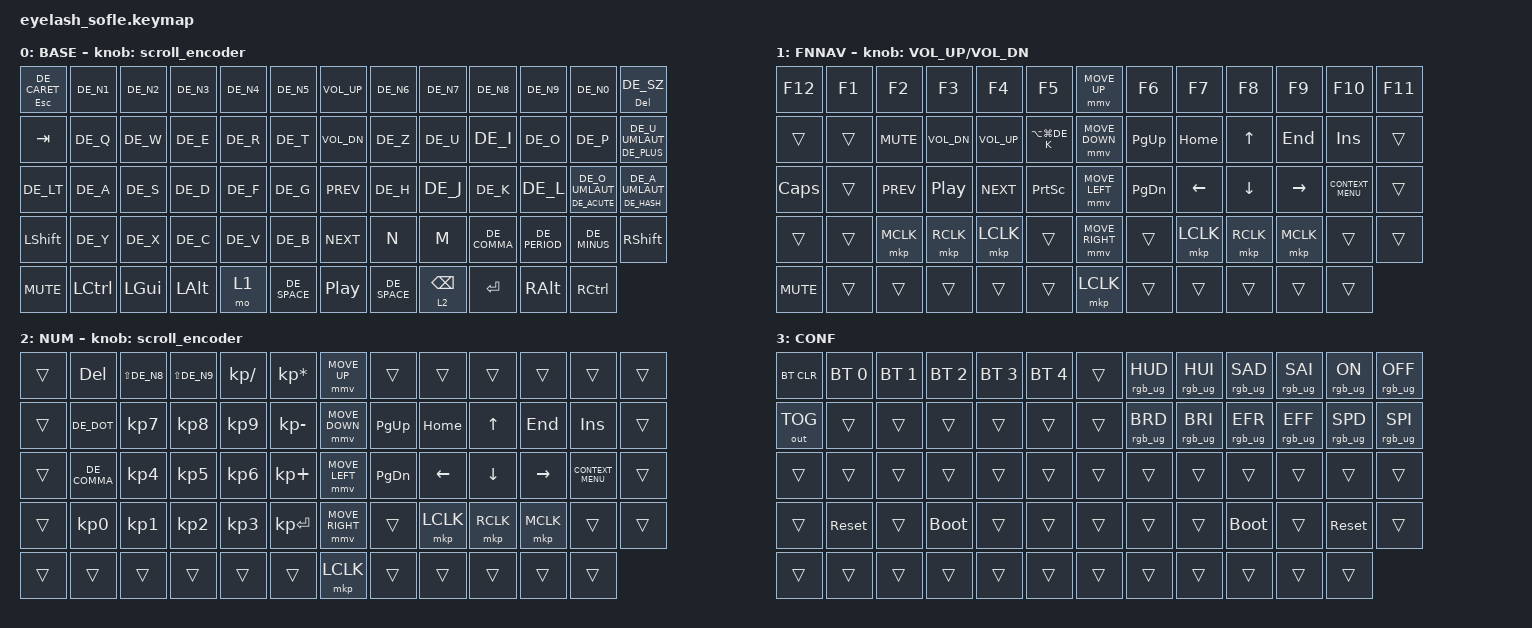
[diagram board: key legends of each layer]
#define ZMK_POINTING_DEFAULT_MOVE_VAL 1200  // 600
#define ZMK_POINTING_DEFAULT_SCRL_VAL 35    // 10

#include "keys_de.h"
#include <input/processors.dtsi>
#include <zephyr/dt-bindings/input/input-event-codes.h>
#include <behaviors.dtsi>
#include <dt-bindings/zmk/bt.h>
#include <dt-bindings/zmk/keys.h>
#include <dt-bindings/zmk/outputs.h>
#include <dt-bindings/zmk/pointing.h>
#include <dt-bindings/zmk/rgb.h>

/ {
    zip_scroll_scaler: zip_scroll_scaler {
        compatible = "zmk,input-processor-scaler";
        #input-processor-cells = <2>;
        type = <INPUT_EV_REL>;
        codes = <INPUT_REL_WHEEL INPUT_REL_HWHEEL>;
        track-remainders;
    };
};

&mmv_input_listener { input-processors = <&zip_xy_scaler 2 1>; };

&msc_input_listener { input-processors = <&zip_scroll_scaler 2 1>; };

&msc {
    acceleration-exponent = <0>;      // 0
    time-to-max-speed-ms = <0>;       // 300
    delay-ms = <0>;                   // 0
};

&mmv {
    time-to-max-speed-ms = <400>;
    acceleration-exponent = <1>;
};

/ {
    scroll_encoder: scroll_encoder {
        compatible = "zmk,behavior-sensor-rotate";
        #sensor-binding-cells = <0>;
        bindings = <&msc SCRL_DOWN>, <&msc SCRL_UP>;

        tap-ms = <100>;
    };

    lt2: lt2 {
        compatible = "zmk,behavior-hold-tap";
        label = "LT2";
        bindings = <&mo>, <&kp>;

        #binding-cells = <2>;
        flavor = "tap-preferred";
        tapping-term-ms = <200>;
        quick-tap-ms = <180>;
    };

    macros {
        shift_MB3: shift_MB3 {
            compatible = "zmk,behavior-macro";
            #binding-cells = <0>;
            bindings =
                <&macro_press>,
                <&kp LEFT_SHIFT>,
                <&macro_press>,
                <&mkp MB3>,
                <&macro_pause_for_release>,
                <&macro_release>,
                <&mkp MB3 &kp LEFT_SHIFT>;

            label = "SHIFT_MB3";
        };
    };

    behaviors {
    };

    combos { compatible = "zmk,combos"; };

    keymap {
        compatible = "zmk,keymap";

        BASE {
            bindings = <
&mt ESCAPE DE_CARET  &kp DE_N1  &kp DE_N2     &kp DE_N3     &kp DE_N4  &kp DE_N5       &kp C_VOL_UP      &kp DE_N6     &kp DE_N7         &kp DE_N8     &kp DE_N9      &kp DE_N0                 &mt DELETE DE_SZ
&kp TAB              &kp DE_Q   &kp DE_W      &kp DE_E      &kp DE_R   &kp DE_T        &kp C_VOL_DN      &kp DE_Z      &kp DE_U          &kp DE_I      &kp DE_O       &kp DE_P                  &mt DE_PLUS DE_U_UMLAUT
&kp DE_LT            &kp DE_A   &kp DE_S      &kp DE_D      &kp DE_F   &kp DE_G        &kp C_PREV        &kp DE_H      &kp DE_J          &kp DE_K      &kp DE_L       &mt DE_ACUTE DE_O_UMLAUT  &mt DE_HASH DE_A_UMLAUT
&kp LSHFT            &kp DE_Y   &kp DE_X      &kp DE_C      &kp DE_V   &kp DE_B        &kp C_NEXT        &kp N         &kp M             &kp DE_COMMA  &kp DE_PERIOD  &kp DE_MINUS              &kp RSHIFT
&kp C_MUTE           &kp LCTRL  &kp LEFT_GUI  &kp LEFT_ALT  &mo 1      &kp DE_SPACE    &kp C_PLAY_PAUSE  &kp DE_SPACE  &lt2 2 BACKSPACE  &kp ENTER     &kp RIGHT_ALT  &kp RIGHT_CONTROL
            >;

            sensor-bindings = <&scroll_encoder>;
            display-name = "BASE";
            label = "BASE";
        };

        FNNAV {
            bindings = <
&kp F12       &kp F1  &kp F2      &kp F3            &kp F4        &kp F5              &mmv MOVE_UP     &kp F6     &kp F7     &kp F8     &kp F9     &kp F10             &kp F11
&trans        &trans  &kp C_MUTE  &kp C_VOL_DN      &kp C_VOL_UP  &kp LA(LG(DE_K))    &mmv MOVE_DOWN   &kp PG_UP  &kp HOME   &kp UP     &kp END    &kp INSERT          &trans
&kp CAPSLOCK  &trans  &kp C_PREV  &kp C_PLAY_PAUSE  &kp C_NEXT    &kp PRINTSCREEN     &mmv MOVE_LEFT   &kp PG_DN  &kp LEFT   &kp DOWN   &kp RIGHT  &kp K_CONTEXT_MENU  &trans
&trans        &trans  &mkp MCLK   &mkp RCLK         &mkp LCLK     &trans              &mmv MOVE_RIGHT  &trans     &mkp LCLK  &mkp RCLK  &mkp MCLK  &trans              &trans
&kp C_MUTE    &trans  &trans      &trans            &trans        &trans              &mkp LCLK        &trans     &trans     &trans     &trans     &trans
            >;

            display-name = "FNNAV";
            sensor-bindings = <&inc_dec_kp C_VOLUME_UP C_VOL_DN>;
            label = "FNNAV";
        };

        NUM {
            bindings = <
&trans  &kp DELETE       &kp LS(DE_N8)    &kp LS(DE_N9)    &kp KP_SLASH     &kp KP_MULTIPLY    &mmv MOVE_UP     &trans         &trans          &trans          &trans           &trans              &trans
&trans  &kp DE_DOT       &kp KP_NUMBER_7  &kp KP_NUMBER_8  &kp KP_NUMBER_9  &kp KP_SUBTRACT    &mmv MOVE_DOWN   &kp PAGE_UP    &kp HOME        &kp UP_ARROW    &kp END          &kp INSERT          &trans
&trans  &kp DE_COMMA     &kp KP_NUMBER_4  &kp KP_NUMBER_5  &kp KP_NUMBER_6  &kp KP_PLUS        &mmv MOVE_LEFT   &kp PAGE_DOWN  &kp LEFT_ARROW  &kp DOWN_ARROW  &kp RIGHT_ARROW  &kp K_CONTEXT_MENU  &trans
&trans  &kp KP_NUMBER_0  &kp KP_NUMBER_1  &kp KP_NUMBER_2  &kp KP_NUMBER_3  &kp KP_ENTER       &mmv MOVE_RIGHT  &trans         &mkp LCLK       &mkp RCLK       &mkp MCLK        &trans              &trans
&trans  &trans           &trans           &trans           &trans           &trans             &mkp LCLK        &trans         &trans          &trans          &trans           &trans
            >;

            display-name = "NUM";
            sensor-bindings = <&scroll_encoder>;
            label = "NUM";
        };

        CONF {
            bindings = <
&bt BT_CLR    &bt BT_SEL 0  &bt BT_SEL 1  &bt BT_SEL 2  &bt BT_SEL 3  &bt BT_SEL 4    &trans  &rgb_ug RGB_HUD  &rgb_ug RGB_HUI  &rgb_ug RGB_SAD  &rgb_ug RGB_SAI  &rgb_ug RGB_ON   &rgb_ug RGB_OFF
&out OUT_TOG  &trans        &trans        &trans        &trans        &trans          &trans  &rgb_ug RGB_BRD  &rgb_ug RGB_BRI  &rgb_ug RGB_EFR  &rgb_ug RGB_EFF  &rgb_ug RGB_SPD  &rgb_ug RGB_SPI
&trans        &trans        &trans        &trans        &trans        &trans          &trans  &trans           &trans           &trans           &trans           &trans           &trans
&trans        &sys_reset    &trans        &bootloader   &trans        &trans          &trans  &trans           &trans           &bootloader      &trans           &sys_reset       &trans
&trans        &trans        &trans        &trans        &trans        &trans          &trans  &trans           &trans           &trans           &trans           &trans
            >;

            display-name = "CONF";
            label = "CONF";
        };
    };

    conditional_layers {
        compatible = "zmk,conditional-layers";

        Third_Layer {
            if-layers = <1 2>;
            then-layer = <3>;
        };
    };
};
